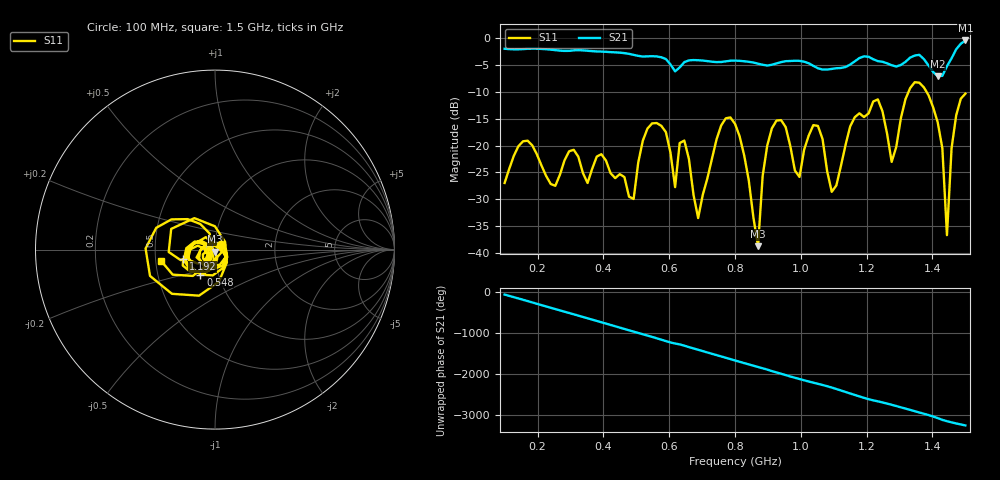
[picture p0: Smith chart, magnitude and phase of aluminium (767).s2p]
! NanoVNA-App
! Date: 2025-09-25 15:01:15
! Start: 100MHz Stop: 1,5GHz Points: 101
! S-Parameter data: F S11 S21 S12 S22
# Hz S RI R 50
!  Frequency  S11_Real  S11_Imag  S21_Real  S21_Imag  S12_Real  S12_Imag  S22_Real  S22_Imag
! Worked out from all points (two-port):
!   101 points, 100 MHz to 1.5 GHz, reference 50 ohm
!   highest |S21| = -0.37 dB at 1.5 GHz (marker M1); lowest = -7.1 dB at 1.416 GHz (marker M2)
!   |S21| within 3 dB of the highest: start of sweep to 519.9 MHz; 520.5 MHz to 564 MHz (43.55 MHz wide, 8.03 % of centre) (the widest 2 of 5)
!   lowest |S11| = -38.8 dB at 870 MHz (marker M3), VSWR 1.02, Z = 50 - j1.15 ohm
!   |S11| at or under -10 dB: start of sweep to 1.327 GHz; 1.382 GHz to end of sweep
!   S12 and S22 are empty: the file has one direction only
!   S11 on the Smith chart (normalised r, x): 100 MHz: 1.07, +0.06; 548 MHz: 0.82, -0.23; 1.192 GHz: 0.70, -0.08; 1.5 GHz: 0.54, -0.08
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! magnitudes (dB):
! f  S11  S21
! 100 MHz  -27.0  -1.9
! 338 MHz  -25.1  -2.2
! 492 MHz  -30.0  -3.1
! 548 MHz  -15.9  -3.3
! 576 MHz  -16.3  -3.5
! 618 MHz  -27.7  -6.1
! 646 MHz  -19.1  -4.4
! 688 MHz  -33.5  -4.1
! 800 MHz  -15.9  -4.1
! 870 MHz  -38.8  -4.7
! 912 MHz  -16.8  -4.9
! 996 MHz  -25.8  -4.2
! 1.038 GHz  -16.2  -5.1
! 1.094 GHz  -28.6  -5.7
! 1.192 GHz  -14.7  -3.3
! 1.234 GHz  -11.4  -4.2
! 1.276 GHz  -23.0  -5.0
! 1.346 GHz  -8.2  -3.2
! 1.416 GHz  -15.7  -7.1
! 1.444 GHz  -36.7  -5.2
! 1.458 GHz  -20.5  -3.7
! 1.5 GHz  -10.3  -0.4
